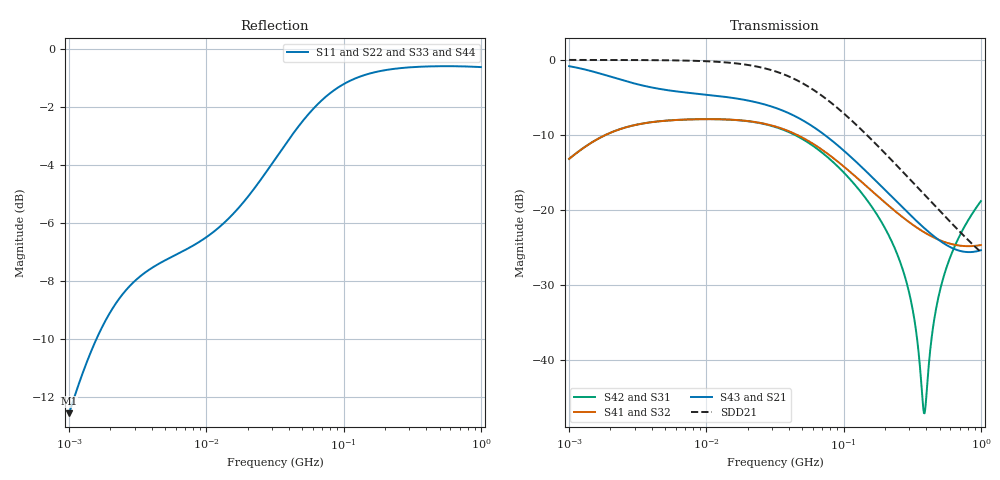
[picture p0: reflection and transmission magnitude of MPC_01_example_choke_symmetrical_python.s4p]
! 01_example_choke_symmetrical reference from port_y
# Hz S RI R 50
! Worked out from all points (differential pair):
!   601 points, 1 MHz to 1 GHz, reference 50 ohm
!   strongest paths, dB at 1 MHz, 5.623 MHz, 31.62 MHz, 177.8 MHz, 1 GHz:
!     S43: -0.8, -4.1, -6.4, -16.4, -25.4
!     S21: -0.8, -4.1, -6.4, -16.4, -25.4
!     S41: -13.2, -8.0, -8.9, -18.2, -24.7
!     S32: -13.2, -8.0, -8.9, -18.2, -24.7
!     S42: -13.2, -8.0, -8.9, -20.8, -18.8
!     S31: -13.2, -8.0, -8.9, -20.8, -18.8
!   taken as a pair (ports 3,1 in; 4,2 out), SDD21 dB: 0.0, -0.1, -1.5, -11.5, -25.6
!   lowest |S11| = -12.5 dB at 1 MHz (marker M1), VSWR 1.62, Z = 57.2 + j24.9 ohm
!   |S11| at or under -10 dB: start of sweep to 1.577 MHz
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1000000  0.1154 0.2057  0.8846 -0.2062  0.115 0.1864  -0.115 -0.1861
         0.8846 -0.2062  0.1154 0.2057  -0.115 -0.1861  0.115 0.1864
         0.115 0.1864  -0.115 -0.1861  0.1154 0.2057  0.8846 -0.2062
         -0.115 -0.1861  0.115 0.1864  0.8846 -0.2062  0.1154 0.2057
8222426  0.4284 0.169  0.5715 -0.1729  0.4017 0.0147  -0.4016 -0.0126
         0.5715 -0.1729  0.4284 0.169  -0.4016 -0.0126  0.4017 0.0147
         0.4017 0.0147  -0.4016 -0.0126  0.4284 0.169  0.5715 -0.1729
         -0.4016 -0.0126  0.4017 0.0147  0.5715 -0.1729  0.4284 0.169
5.956621e7  0.7516 0.2358  0.2459 -0.2626  0.1707 -0.2067  -0.1684 0.2197
            0.2459 -0.2626  0.7516 0.2358  -0.1684 0.2197  0.1707 -0.2067
            0.1707 -0.2067  -0.1684 0.2197  0.7516 0.2358  0.2459 -0.2626
            -0.1684 0.2197  0.1707 -0.2067  0.2459 -0.2626  0.7516 0.2358
2.344229e8  0.9254 0.00127  0.0646 -0.0982  0.00206 -0.0562  0.00646 0.0988
            0.0646 -0.0982  0.9254 0.00127  0.00646 0.0988  0.00206 -0.0562
            0.00206 -0.0562  0.00646 0.0988  0.9254 0.00127  0.0646 -0.0982
            0.00646 0.0988  0.00206 -0.0562  0.0646 -0.0982  0.9254 0.00127
3.890451e8  0.9278 -0.1045  0.0525 -0.0539  -0.00434 0.000741  0.02 0.0677
            0.0525 -0.0539  0.9278 -0.1045  0.02 0.0677  -0.00434 0.000741
            -0.00434 0.000741  0.02 0.0677  0.9278 -0.1045  0.0525 -0.0539
            0.02 0.0677  -0.00434 0.000741  0.0525 -0.0539  0.9278 -0.1045
5.248075e8  0.918 -0.1776  0.0502 -0.0339  4.5e-05 0.0336  0.0244 0.0568
            0.0502 -0.0339  0.918 -0.1776  0.0244 0.0568  4.5e-05 0.0336
            4.5e-05 0.0336  0.0244 0.0568  0.918 -0.1776  0.0502 -0.0339
            0.0244 0.0568  4.5e-05 0.0336  0.0502 -0.0339  0.918 -0.1776
1e9  0.8485 -0.3846  0.0538 0.00015  0.0382 0.1078  0.0329 0.0481
     0.0538 0.00015  0.8485 -0.3846  0.0329 0.0481  0.0382 0.1078
     0.0382 0.1078  0.0329 0.0481  0.8485 -0.3846  0.0538 0.00015
     0.0329 0.0481  0.0382 0.1078  0.0538 0.00015  0.8485 -0.3846
